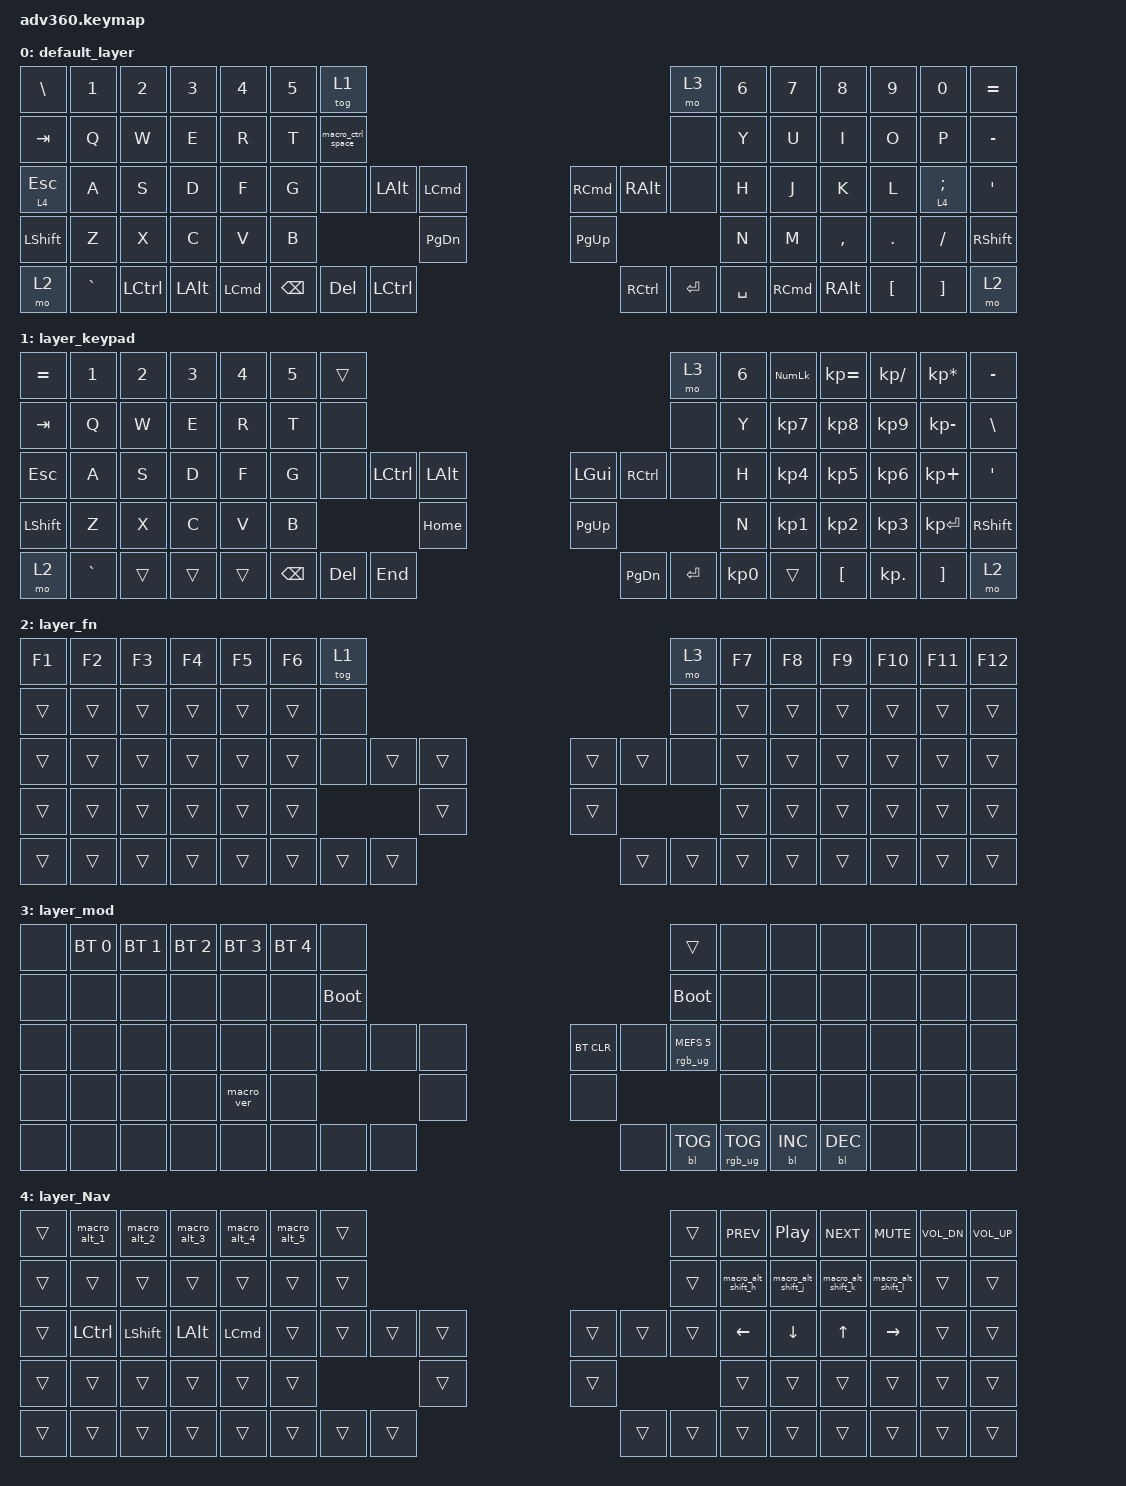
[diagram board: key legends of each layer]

/*
 * Copyright (c) 2020 The ZMK Contributors
 *
 * SPDX-License-Identifier: MIT
 */


/* THIS FILE WAS GENERATED!
 *
 * This file was generated automatically. You may or may not want to
 * edit it directly.
 */

#include <behaviors.dtsi>
#include <dt-bindings/zmk/keys.h>
#include <dt-bindings/zmk/bt.h>
#include <dt-bindings/zmk/rgb.h>
#include <dt-bindings/zmk/backlight.h>

/ {
  behaviors {
    #include "macros.dtsi"
    #include "version.dtsi"

    hm: homerow_mods {
        compatible = "zmk,behavior-hold-tap";
        label = "HOMEROW_MODS";
        #binding-cells = <2>;
        tapping-term-ms = <200>;
        quick_tap_ms = <175>;
        flavor = "tap-preferred";
        bindings = <&kp>, <&kp>;
    };
  };

    keymap {
        compatible = "zmk,keymap";


        default_layer {
            bindings = <
 &kp BACKSLASH     &kp N1            &kp N2        &kp N3            &kp N4  &kp N5                       &tog 1                                                                                    &mo 3  &kp N6             &kp N7         &kp N8    &kp N9           &kp N0  &kp EQUAL
       &kp TAB      &kp Q             &kp W         &kp E             &kp R   &kp T            &macro_ctrl_space                                                                                    &none   &kp Y              &kp U          &kp I     &kp O            &kp P  &kp MINUS
  &lt 4 ESCAPE      &kp A             &kp S         &kp D             &kp F   &kp G                        &none  &kp LALT  &kp LEFT_COMMAND                  &kp RIGHT_COMMAND  &kp RIGHT_ALT      &none   &kp H              &kp J          &kp K     &kp L  &lt 4 SEMICOLON    &kp SQT
     &kp LSHFT      &kp Z             &kp X         &kp C             &kp V   &kp B                                            &kp PAGE_DOWN                          &kp PG_UP                             &kp N              &kp M      &kp COMMA   &kp DOT         &kp FSLH  &kp RSHFT
         &mo 2  &kp GRAVE  &kp LEFT_CONTROL  &kp LEFT_ALT  &kp LEFT_COMMAND                             &kp BSPC   &kp DEL         &kp LCTRL                  &kp RIGHT_CONTROL      &kp ENTER  &kp SPACE          &kp RIGHT_COMMAND  &kp RIGHT_ALT  &kp LBKT         &kp RBKT      &mo 2
            >;
        };

        layer_keypad {
            bindings = <
 &kp EQUAL     &kp N1  &kp N2  &kp N3  &kp N4  &kp N5              &trans                                                                 &mo 3  &kp N6  &kp KP_NUM      &kp KP_EQUAL  &kp KP_DIVIDE  &kp KP_MULTIPLY  &kp MINUS
   &kp TAB      &kp Q   &kp W   &kp E   &kp R   &kp T               &none                                                                 &none   &kp Y   &kp KP_N7         &kp KP_N8      &kp KP_N9     &kp KP_MINUS   &kp BSLH
   &kp ESC      &kp A   &kp S   &kp D   &kp F   &kp G               &none  &kp LCTRL  &kp LALT                   &kp LGUI  &kp RCTRL      &none   &kp H   &kp KP_N4         &kp KP_N5      &kp KP_N6      &kp KP_PLUS    &kp SQT
 &kp LSHFT      &kp Z   &kp X   &kp C   &kp V   &kp B                                 &kp HOME                  &kp PG_UP                         &kp N   &kp KP_N1         &kp KP_N2      &kp KP_N3     &kp KP_ENTER  &kp RSHFT
     &mo 2  &kp GRAVE  &trans  &trans  &trans                    &kp BSPC    &kp DEL   &kp END                  &kp PG_DN  &kp ENTER  &kp KP_N0              &trans  &kp LEFT_BRACKET     &kp KP_DOT         &kp RBKT      &mo 2
            >;
        };

        layer_fn {
            bindings = <
 &kp F1  &kp F2  &kp F3  &kp F4  &kp F5  &kp F6            &tog 1                                                   &mo 3  &kp F7  &kp F8  &kp F9  &kp F10  &kp F11  &kp F12
 &trans  &trans  &trans  &trans  &trans  &trans             &none                                                   &none  &trans  &trans  &trans   &trans   &trans   &trans
 &trans  &trans  &trans  &trans  &trans  &trans             &none  &trans  &trans                  &trans  &trans   &none  &trans  &trans  &trans   &trans   &trans   &trans
 &trans  &trans  &trans  &trans  &trans  &trans                            &trans                  &trans                  &trans  &trans  &trans   &trans   &trans   &trans
 &trans  &trans  &trans  &trans  &trans                    &trans  &trans  &trans                  &trans  &trans  &trans          &trans  &trans   &trans   &trans   &trans
            >;
        };

        layer_mod {
            bindings = <
  &none  &bt BT_SEL 0  &bt BT_SEL 1  &bt BT_SEL 2  &bt BT_SEL 3  &bt BT_SEL 4                  &none                                                                          &trans   &none       &none       &none   &none   &none   &none
  &none         &none         &none         &none         &none         &none            &bootloader                                                                     &bootloader   &none       &none       &none   &none   &none   &none
  &none         &none         &none         &none         &none         &none                  &none   &none   &none                  &bt BT_CLR       &none  &rgb_ug RGB_MEFS_CMD 5   &none       &none       &none   &none   &none   &none
  &none         &none         &none         &none    &macro_ver         &none                                  &none                       &none                                       &none       &none       &none   &none   &none   &none
  &none         &none         &none         &none         &none                                &none   &none   &none                       &none  &bl BL_TOG         &rgb_ug RGB_TOG          &bl BL_INC  &bl BL_DEC   &none   &none   &none
            >;
        };

        layer_Nav {
            bindings = <
 &trans      &macro_alt_1    &macro_alt_2  &macro_alt_3      &macro_alt_4  &macro_alt_5            &trans                                                  &trans          &kp C_PREV    &kp C_PLAY_PAUSE          &kp C_NEXT          &kp C_MUTE  &kp C_VOL_DN  &kp C_VOL_UP
 &trans            &trans          &trans        &trans            &trans        &trans            &trans                                                  &trans  &macro_alt_shift_h  &macro_alt_shift_j  &macro_alt_shift_k  &macro_alt_shift_l        &trans        &trans
 &trans  &kp LEFT_CONTROL  &kp LEFT_SHIFT  &kp LEFT_ALT  &kp LEFT_COMMAND        &trans            &trans  &trans  &trans                  &trans  &trans  &trans      &kp LEFT_ARROW            &kp DOWN              &kp UP           &kp RIGHT        &trans        &trans
 &trans            &trans          &trans        &trans            &trans        &trans                            &trans                  &trans                              &trans              &trans              &trans              &trans        &trans        &trans
 &trans            &trans          &trans        &trans            &trans                          &trans  &trans  &trans                  &trans  &trans  &trans                                  &trans              &trans              &trans        &trans        &trans
            >;
        };

    };
};
